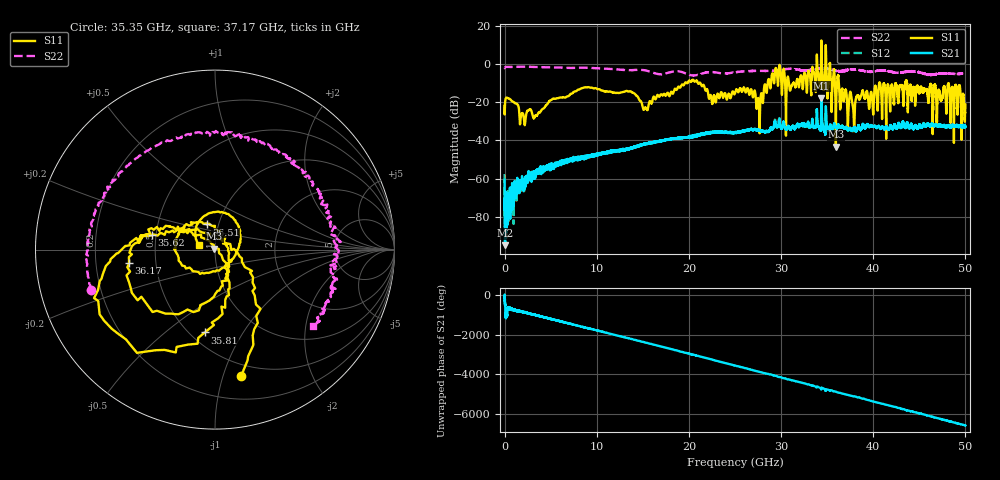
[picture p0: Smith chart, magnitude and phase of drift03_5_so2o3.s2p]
!Created with skrf (http://scikit-rf.org).
# Hz S RI R 50.0
!freq ReS11 ImS11 ReS21 ImS21 ReS12 ImS12 ReS22 ImS22
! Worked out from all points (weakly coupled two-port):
!   10001 points, 300 kHz to 50 GHz, reference 50 ohm
!   highest |S21| = -17.71 dB at 34.37 GHz (marker M1); lowest = -95.0 dB at 45.3 MHz (marker M2)
!   lowest |S11| = -43.3 dB at 35.95 GHz (marker M3), VSWR 1.01, Z = 49.6 + j0.558 ohm
!   |S11| at or under -10 dB: start of sweep to 19.56 GHz; 21.25 GHz to 28.55 GHz (7.296 GHz wide, 29.3 % of centre); 43.67 GHz to 48.18 GHz (4.513 GHz wide, 9.83 % of centre) (the widest 3 of 33)
!   |S22| runs from -5.9 to -1.3 dB; largest |S21 - S12| = 0.026
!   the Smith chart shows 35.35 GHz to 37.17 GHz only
!   S11 on the Smith chart (normalised r, x): 35.35 GHz: 0.40, -1.15; 35.62 GHz: 0.47, +0.09; 35.81 GHz: 0.59, -0.69; 36.17 GHz: 0.35, -0.07; 36.51 GHz: 0.88, +0.25; 37.17 GHz: 0.84, +0.04
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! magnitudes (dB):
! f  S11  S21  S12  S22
! 300 kHz  -21.9  -60.6  -57.6  -2.0
! 45.3 MHz  -20.8  -95.0  -83.5  -1.7
! 260.3 MHz  -17.6  -75.8  -79.7  -1.4
! 3.305 GHz  -27.2  -56.4  -57.6  -1.5
! 8.335 GHz  -12.6  -49.1  -48.9  -1.9
! 15.29 GHz  -22.8  -41.6  -41.7  -3.3
! 16.67 GHz  -16.5  -40.4  -40.5  -5.2
! 25 GHz  -15.3  -35.8  -35.9  -4.3
! 27.52 GHz  -17.9  -34.5  -34.6  -3.5
! 29.28 GHz  -8.8  -31.3  -30.8  -3.4
! 30.73 GHz  -6.6  -32.7  -32.5  -2.5
! 33.34 GHz  -7.4  -31.3  -31.5  -2.9
! 34.37 GHz  12.4  -17.7  -19.3  -2.3
! 35.35 GHz  -2.9  -31.9  -31.4  -2.8
! 35.62 GHz  -8.8  -33.9  -33.9  -3.1
! 35.81 GHz  -6.6  -31.7  -32.1  -3.3
! 35.95 GHz  -43.3  -33.0  -33.1  -3.5
! 36.17 GHz  -6.3  -32.5  -32.3  -3.8
! 36.51 GHz  -16.6  -33.2  -32.9  -3.7
! 37.17 GHz  -20.8  -33.9  -33.9  -3.2
! 41.67 GHz  -12.0  -34.5  -34.2  -3.7
! 50 GHz  -21.2  -32.8  -33.0  -5.0
